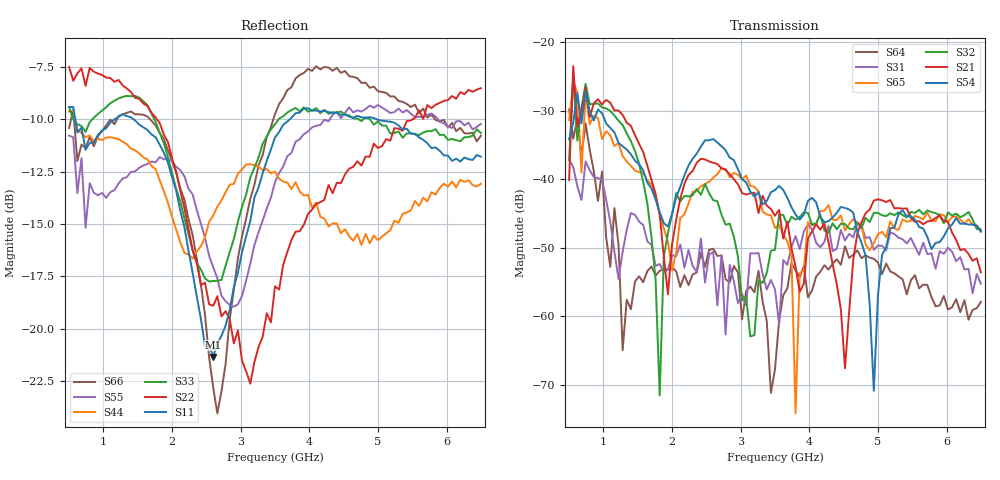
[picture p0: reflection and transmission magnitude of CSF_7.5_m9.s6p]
!Keysight Technologies,M9804A,MY58100912,A.14.10.03
!Date: Thursday, April 27, 2023 10:28:33
!Correction: S11(C  6-Port  )
!S12(C  6-Port  )
!S13(C  6-Port  )
!S14(C  6-Port  )
!S15(C  6-Port  )
!S16(C  6-Port  )
!S21(C  6-Port  )
!S22(C  6-Port  )
!S23(C  6-Port  )
!S24(C  6-Port  )
!S25(C  6-Port  )
!S26(C  6-Port  )
!S31(C  6-Port  )
!S32(C  6-Port  )
!S33(C  6-Port  )
!S34(C  6-Port  )
!S35(C  6-Port  )
!S36(C  6-Port  )
!S41(C  6-Port  )
!S42(C  6-Port  )
!S43(C  6-Port  )
!S44(C  6-Port  )
!S45(C  6-Port  )
!S46(C  6-Port  )
!S51(C  6-Port  )
!S52(C  6-Port  )
!S53(C  6-Port  )
!S54(C  6-Port  )
!S55(C  6-Port  )
!S56(C  6-Port  )
!S61(C  6-Port  )
!S62(C  6-Port  )
!S63(C  6-Port  )
!S64(C  6-Port  )
!S65(C  6-Port  )
!S66(C  6-Port  )
!S6P File: Measurement: :
# Hz S  RI  R 50
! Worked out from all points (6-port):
!   101 points, 500 MHz to 6.5 GHz, reference 50 ohm
!   strongest paths, dB at 500 MHz, 2 GHz, 3.5 GHz, 5 GHz, 6.5 GHz:
!     S54: -34.2, -45.1, -41.6, -56.9, -47.6
!     S21: -40.1, -49.5, -45.3, -42.9, -53.6
!     S32: -37.2, -45.1, -50.3, -44.9, -47.3
!     S65: -31.3, -53.3, -47.1, -48.0, -47.4
!     S31: -37.1, -51.1, -56.1, -49.7, -55.2
!     S64: -29.8, -52.9, -67.7, -52.1, -57.9
!   lowest |S11| = -21.4 dB at 2.6 GHz (marker M1), VSWR 1.19, Z = 42.4 + j2.26 ohm
!   |S11| at or under -10 dB: 588.9 MHz to 1.166 GHz (577 MHz wide, 65.8 % of centre); 1.439 GHz to 3.716 GHz (2.278 GHz wide, 88.4 % of centre); 4.98 GHz to end of sweep
